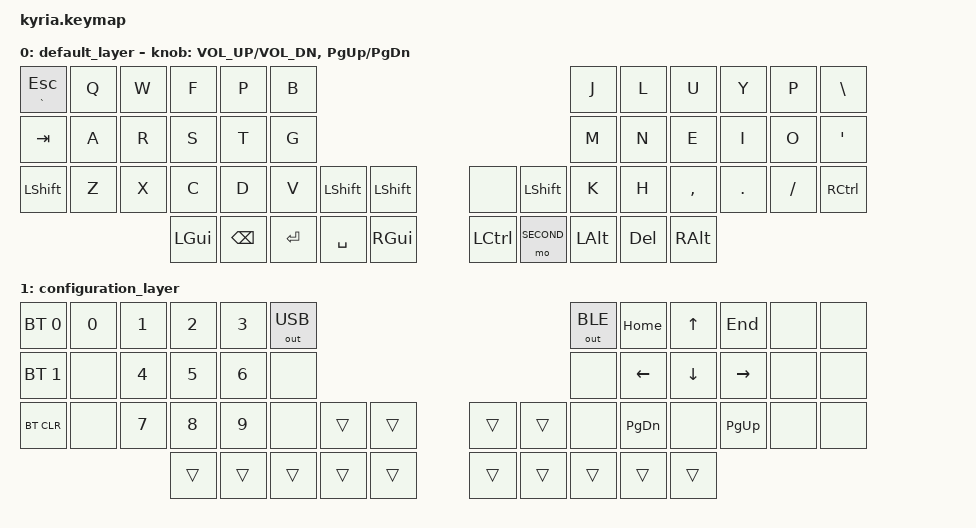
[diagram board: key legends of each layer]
#include <behaviors.dtsi>
#include <dt-bindings/zmk/keys.h>
#include <dt-bindings/zmk/bt.h>
//#include <dt-bindings/zmk/ext_power.h>
#include <dt-bindings/zmk/outputs.h>

#define DEFAULT 0
//#define LOWER   1
//#define RAISE   2
#define SECOND 1


/ {
	keymap {
		compatible = "zmk,keymap";

		default_layer {
// ---------------------------------------------------------------------------------------------------------------------------------
// |  ESC  |  Q  |  W  |  E   |  R   |  T   |                                          |  Y   |  U    |  I    |  O   |   P   |   \  |
// |  TAB  |  A  |  S  |  D   |  F   |  G   |                                          |  H   |  J    |  K    |  L   |   ;   |   '  |
// | SHIFT |  Z  |  X  |  C   |  V   |  B   | L SHIFT | L SHIFT |  | L SHIFT | L SHIFT |  N   |  M    |  ,    |  .   |   /   | CTRL |
//                     | GUI  | DEL  | RET  |  SPACE  |   ESC   |  |   RET   |  SPACE  | TAB  | BSPC  | R-ALT |
			bindings = <
	&mt GRAVE ESC &kp Q &kp W &kp F &kp P &kp B                                      &kp J &kp L  &kp U     &kp Y   &kp P    &kp BSLH
	&kp TAB   &kp A &kp R &kp S &kp T &kp G                                        &kp M &kp N  &kp E     &kp I   &kp O &kp SQT
	&kp LSHFT &kp Z &kp X &kp C &kp D &kp V &kp LSHFT &kp LSHFT        &none  &kp LSHFT &kp K &kp H  &kp COMMA &kp DOT &kp FSLH &kp RCTRL
	                 &kp LGUI &kp BSPC &kp RET &kp SPACE &kp RGUI        &kp LCTRL  &mo SECOND  &kp LALT &kp DEL &kp RALT
			>;

			sensor-bindings = <&inc_dec_kp C_VOL_UP C_VOL_DN &inc_dec_kp PG_UP PG_DN>;
		};
		
		configuration_layer {
			bindings = <
	&bt BT_SEL 0 &kp N0 &kp N1 &kp N2 &kp N3 &out OUT_USB                       &out OUT_BLE &kp HOME &kp UP  &kp END &none &none
	&bt BT_SEL 1 &none &kp N4 &kp N5 &kp N6 &none                                            &none  &kp LEFT   &kp DOWN   &kp RIGHT   &none  &none
	&bt BT_CLR &none &kp N7 &kp N8 &kp N9 &none &trans &trans           &trans   &trans    &none  &kp PG_DN   &none   &kp PG_UP   &none &none
	                  &trans &trans &trans &trans &trans        &trans &trans &trans &trans &trans
			>;
		};
		
		
	};
};
